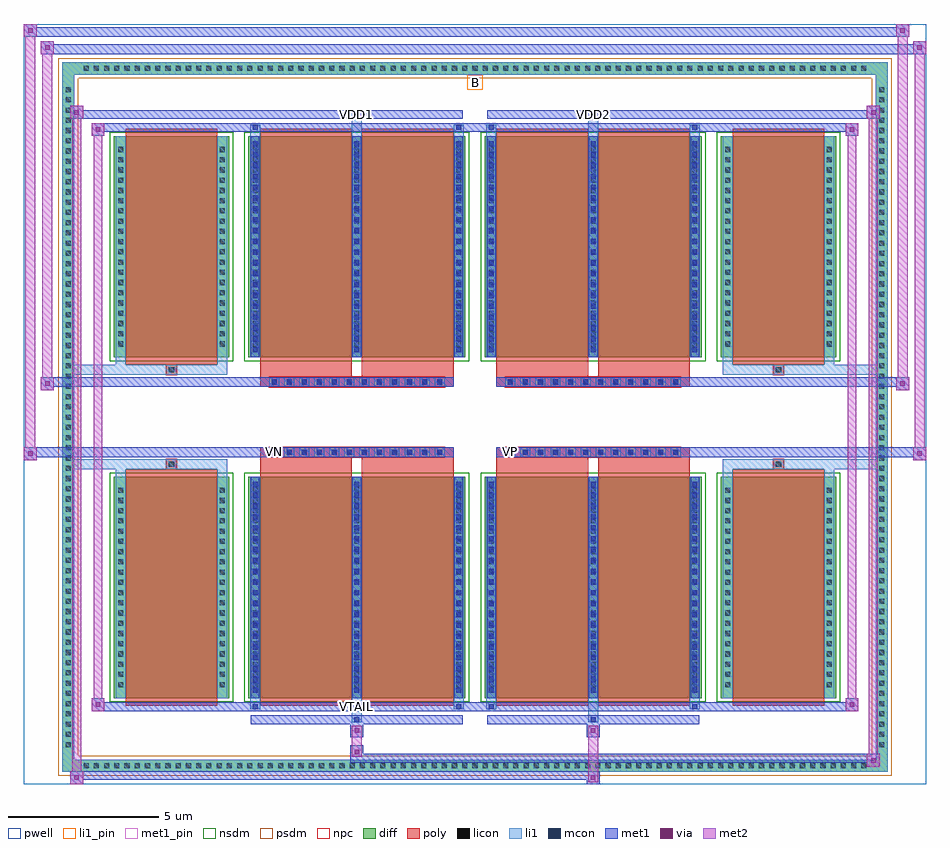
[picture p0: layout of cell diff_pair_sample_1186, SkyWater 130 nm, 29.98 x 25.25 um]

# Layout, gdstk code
import gdstk
lib = gdstk.Library(unit=1e-6, precision=5e-09)
def R(c, l, rs):  # rectangles x0, y0, x1, y1
    for r in rs: c.add(gdstk.rectangle(r[:2], r[2:], *l))
def A(c, l, x, y, w, h, nx, ny, dx, dy):  # array of equal rectangles
    R(c, l, [(x+i*dx, y+j*dy, x+i*dx+w, y+j*dy+h) for i in range(nx) for j in range(ny)])
def P(c, l, *ps):  # polygons
    for p in ps: c.add(gdstk.Polygon(p, *l))
pwell = (64, 44)
diff = (65, 20)
poly = (66, 20)
licon = (66, 44)
li1_pin = (67, 16)
li1 = (67, 20)
mcon = (67, 44)
met1_pin = (68, 16)
met1 = (68, 20)
via = (68, 44)
met2 = (69, 20)
nsdm = (93, 44)
psdm = (94, 20)
npc = (95, 20)

diff_pair_sample_1186 = lib.new_cell('diff_pair_sample_1186')
R(diff_pair_sample_1186, pwell, [(-14.99,-12.19,14.99,13.06), (-12.31,-10.38,-0.01,-0.8), (0.01,-10.38,12.31,-0.8), (-12.31,0.8,-0.01,10.38), (0.01,0.8,12.31,10.38)])
A(diff_pair_sample_1186, diff, -13.125, -11.79, 0.41, 0.41, 77, 2, 0.34, 23.17)
A(diff_pair_sample_1186, diff, -13.72, -11.085, 0.41, 0.41, 1, 65, 0, 0.34)
A(diff_pair_sample_1186, diff, 13.31, -11.085, 0.41, 0.41, 1, 65, 0, 0.34)
R(diff_pair_sample_1186, diff, [(-13.125,-11.79,13.125,-11.38), (-13.72,-11.085,-13.31,11.085), (13.31,-11.085,13.72,11.085), (-12,-9.335,-8.17,-1.985), (-7.53,-9.335,-0.32,-1.985), (0.32,-9.335,7.53,-1.985), (8.17,-9.335,12,-1.985), (-12,1.985,-8.17,9.335), (-7.53,1.985,-0.32,9.335), (0.32,1.985,7.53,9.335), (8.17,1.985,12,9.335), (-13.125,11.38,13.125,11.79)])
P(diff_pair_sample_1186, diff, [(13.72,11.79),(-13.72,11.79),(-13.72,-11.38),(-13.31,-11.38),(-13.31,11.38),(13.31,11.38),(13.31,-11.38),(-13.31,-11.38),(-13.72,-11.38),(-13.72,-11.79),(13.72,-11.79)])
A(diff_pair_sample_1186, poly, -6.84, -1.33, 0.33, 0.33, 12, 2, 0.5, 2.33)
A(diff_pair_sample_1186, poly, 1.01, -1.33, 0.33, 0.33, 12, 2, 0.5, 2.33)
R(diff_pair_sample_1186, poly, [(-11.61,-9.585,-8.56,-1.735), (-7.14,-9.585,-4.09,-1.735), (-3.76,-9.585,-0.71,-1.735), (0.71,-9.585,3.76,-1.735), (4.09,-9.585,7.14,-1.735), (8.56,-9.585,11.61,-1.735), (-10.25,-1.735,-9.92,-1.405), (-10.25,-1.735,-9.92,-1.405), (-7.14,-1.735,-4.09,-1.33), (-3.76,-1.735,-0.71,-1.33), (0.71,-1.735,3.76,-1.33), (4.09,-1.735,7.14,-1.33), (9.92,-1.735,10.25,-1.405), (9.92,-1.735,10.25,-1.405), (-7.14,-1.33,-0.71,-1), (0.71,-1.33,7.14,-1), (-7.14,1,-0.71,1.33), (0.71,1,7.14,1.33), (-7.14,1.33,-4.09,1.735), (-3.76,1.33,-0.71,1.735), (0.71,1.33,3.76,1.735), (4.09,1.33,7.14,1.735), (-10.25,1.405,-9.92,1.735), (-10.25,1.405,-9.92,1.735), (9.92,1.405,10.25,1.735), (9.92,1.405,10.25,1.735), (-11.61,1.735,-8.56,9.585), (-7.14,1.735,-4.09,9.585), (-3.76,1.735,-0.71,9.585), (0.71,1.735,3.76,9.585), (4.09,1.735,7.14,9.585), (8.56,1.735,11.61,9.585)])
A(diff_pair_sample_1186, licon, -13.005, -11.67, 0.17, 0.17, 77, 2, 0.34, 23.17)
A(diff_pair_sample_1186, licon, -13.6, -10.965, 0.17, 0.17, 1, 65, 0, 0.34)
A(diff_pair_sample_1186, licon, 13.43, -10.965, 0.17, 0.17, 1, 65, 0, 0.34)
A(diff_pair_sample_1186, licon, -11.86, -8.975, 0.17, 0.17, 1, 20, 0, 0.34)
A(diff_pair_sample_1186, licon, -8.48, -8.975, 0.17, 0.17, 1, 20, 0, 0.34)
A(diff_pair_sample_1186, licon, -7.39, -8.975, 0.17, 0.17, 3, 20, 3.38, 0.34)
A(diff_pair_sample_1186, licon, 0.46, -8.975, 0.17, 0.17, 3, 20, 3.38, 0.34)
A(diff_pair_sample_1186, licon, 8.31, -8.975, 0.17, 0.17, 1, 20, 0, 0.34)
A(diff_pair_sample_1186, licon, 11.69, -8.975, 0.17, 0.17, 1, 20, 0, 0.34)
A(diff_pair_sample_1186, licon, -6.76, -1.25, 0.17, 0.17, 12, 2, 0.5, 2.33)
A(diff_pair_sample_1186, licon, 1.09, -1.25, 0.17, 0.17, 12, 2, 0.5, 2.33)
A(diff_pair_sample_1186, licon, -11.86, 2.345, 0.17, 0.17, 1, 20, 0, 0.34)
A(diff_pair_sample_1186, licon, -8.48, 2.345, 0.17, 0.17, 1, 20, 0, 0.34)
A(diff_pair_sample_1186, licon, -7.39, 2.345, 0.17, 0.17, 3, 20, 3.38, 0.34)
A(diff_pair_sample_1186, licon, 0.46, 2.345, 0.17, 0.17, 3, 20, 3.38, 0.34)
A(diff_pair_sample_1186, licon, 8.31, 2.345, 0.17, 0.17, 1, 20, 0, 0.34)
A(diff_pair_sample_1186, licon, 11.69, 2.345, 0.17, 0.17, 1, 20, 0, 0.34)
R(diff_pair_sample_1186, licon, [(-10.17,-1.655,-10,-1.485), (10,-1.655,10.17,-1.485), (-10.17,1.485,-10,1.655), (10,1.485,10.17,1.655)])
R(diff_pair_sample_1186, li1_pin, [(-0.25,10.88,0.25,11.38)])
A(diff_pair_sample_1186, li1, -13.085, -11.75, 0.33, 0.33, 77, 2, 0.34, 23.17)
A(diff_pair_sample_1186, li1, -13.68, -11.045, 0.33, 0.33, 1, 65, 0, 0.34)
A(diff_pair_sample_1186, li1, 13.35, -11.045, 0.33, 0.33, 1, 65, 0, 0.34)
A(diff_pair_sample_1186, li1, -7.47, -9.335, 0.33, 7.35, 3, 2, 3.38, 11.32)
A(diff_pair_sample_1186, li1, 0.38, -9.335, 0.33, 7.35, 3, 2, 3.38, 11.32)
A(diff_pair_sample_1186, li1, -7.39, -9.165, 0.17, 0.17, 3, 20, 3.38, 0.36)
A(diff_pair_sample_1186, li1, -7.39, -9.165, 0.17, 7.01, 3, 2, 3.38, 11.32)
A(diff_pair_sample_1186, li1, 0.46, -9.165, 0.17, 0.17, 3, 20, 3.38, 0.36)
A(diff_pair_sample_1186, li1, 0.46, -9.165, 0.17, 7.01, 3, 2, 3.38, 11.32)
A(diff_pair_sample_1186, li1, -11.94, -9.055, 0.33, 0.33, 1, 20, 0, 0.34)
A(diff_pair_sample_1186, li1, -8.56, -9.055, 0.33, 0.33, 1, 20, 0, 0.34)
A(diff_pair_sample_1186, li1, -7.47, -9.055, 0.33, 0.33, 3, 20, 3.38, 0.34)
A(diff_pair_sample_1186, li1, 0.38, -9.055, 0.33, 0.33, 3, 20, 3.38, 0.34)
A(diff_pair_sample_1186, li1, 8.23, -9.055, 0.33, 0.33, 1, 20, 0, 0.34)
A(diff_pair_sample_1186, li1, 11.61, -9.055, 0.33, 0.33, 1, 20, 0, 0.34)
A(diff_pair_sample_1186, li1, -6.84, -1.33, 0.33, 0.33, 12, 2, 0.5, 2.33)
A(diff_pair_sample_1186, li1, 1.01, -1.33, 0.33, 0.33, 12, 2, 0.5, 2.33)
A(diff_pair_sample_1186, li1, -7.39, 2.155, 0.17, 0.17, 3, 20, 3.38, 0.36)
A(diff_pair_sample_1186, li1, 0.46, 2.155, 0.17, 0.17, 3, 20, 3.38, 0.36)
A(diff_pair_sample_1186, li1, -11.94, 2.265, 0.33, 0.33, 1, 20, 0, 0.34)
A(diff_pair_sample_1186, li1, -8.56, 2.265, 0.33, 0.33, 1, 20, 0, 0.34)
A(diff_pair_sample_1186, li1, -7.47, 2.265, 0.33, 0.33, 3, 20, 3.38, 0.34)
A(diff_pair_sample_1186, li1, 0.38, 2.265, 0.33, 0.33, 3, 20, 3.38, 0.34)
A(diff_pair_sample_1186, li1, 8.23, 2.265, 0.33, 0.33, 1, 20, 0, 0.34)
A(diff_pair_sample_1186, li1, 11.61, 2.265, 0.33, 0.33, 1, 20, 0, 0.34)
R(diff_pair_sample_1186, li1, [(-13.72,-11.79,-13.31,-11.38), (-13.72,-11.79,-13.31,-11.38), (-13.31,-11.79,13.31,-11.38), (13.31,-11.79,13.72,-11.38), (13.31,-11.79,13.72,-11.38), (-13.72,-11.38,-13.31,11.38), (13.31,-11.38,13.72,11.38), (-4.09,-10.14,-3.76,-9.335), (-4.01,-10.14,-3.84,-9.97), (3.76,-10.14,4.09,-9.335), (3.84,-10.14,4.01,-9.97), (-7.47,-9.71,-7.14,-9.335), (-7.39,-9.71,-7.22,-9.54), (-0.71,-9.71,-0.38,-9.335), (-0.63,-9.71,-0.46,-9.54), (0.38,-9.71,0.71,-9.335), (0.46,-9.71,0.63,-9.54), (7.14,-9.71,7.47,-9.335), (7.22,-9.71,7.39,-9.54), (-11.94,-9.335,-11.61,-1.985), (-8.56,-9.335,-8.23,-1.985), (8.23,-9.335,8.56,-1.985), (11.61,-9.335,11.94,-1.985), (-11.94,-1.985,-11.61,-1.405), (-8.56,-1.985,-8.23,-1.405), (8.23,-1.985,8.56,-1.405), (11.61,-1.985,11.94,-1.405), (-13.72,-1.735,-10.25,-1.405), (-11.94,-1.735,-10.25,-1.405), (-10.25,-1.735,-9.92,-1.405), (-9.92,-1.735,-8.23,-1.405), (8.23,-1.735,9.92,-1.405), (9.92,-1.735,10.25,-1.405), (9.92,-1.735,13.72,-1.405), (10.25,-1.735,11.94,-1.405), (-13.72,1.405,-10.25,1.735), (-11.94,1.405,-10.25,1.735), (-11.94,1.405,-11.61,1.985), (-10.25,1.405,-9.92,1.735), (-9.92,1.405,-8.23,1.735), (-8.56,1.405,-8.23,1.985), (8.23,1.405,9.92,1.735), (8.23,1.405,8.56,1.985), (9.92,1.405,10.25,1.735), (9.92,1.405,13.72,1.735), (10.25,1.405,11.94,1.735), (11.61,1.405,11.94,1.985), (-11.94,1.985,-11.61,9.335), (-8.56,1.985,-8.23,9.335), (8.23,1.985,8.56,9.335), (11.61,1.985,11.94,9.335), (-7.47,9.335,-7.14,9.71), (-4.09,9.335,-3.76,10.14), (-0.71,9.335,-0.38,9.71), (0.38,9.335,0.71,9.71), (3.76,9.335,4.09,10.14), (7.14,9.335,7.47,9.71), (-7.39,9.54,-7.22,9.71), (-0.63,9.54,-0.46,9.71), (0.46,9.54,0.63,9.71), (7.22,9.54,7.39,9.71), (-4.01,9.97,-3.84,10.14), (3.84,9.97,4.01,10.14), (-13.72,11.38,-13.31,11.79), (-13.72,11.38,-13.31,11.79), (-13.31,11.38,13.31,11.79), (13.31,11.38,13.72,11.79), (13.31,11.38,13.72,11.79)])
A(diff_pair_sample_1186, mcon, -7.39, -9.165, 0.17, 0.17, 3, 20, 3.38, 0.36)
A(diff_pair_sample_1186, mcon, 0.46, -9.165, 0.17, 0.17, 3, 20, 3.38, 0.36)
A(diff_pair_sample_1186, mcon, -6.76, -1.25, 0.17, 0.17, 12, 2, 0.5, 2.33)
A(diff_pair_sample_1186, mcon, 1.09, -1.25, 0.17, 0.17, 12, 2, 0.5, 2.33)
A(diff_pair_sample_1186, mcon, -7.39, 2.155, 0.17, 0.17, 3, 20, 3.38, 0.36)
A(diff_pair_sample_1186, mcon, 0.46, 2.155, 0.17, 0.17, 3, 20, 3.38, 0.36)
R(diff_pair_sample_1186, mcon, [(-4.01,-10.14,-3.84,-9.97), (3.84,-10.14,4.01,-9.97), (-7.39,-9.71,-7.22,-9.54), (-0.63,-9.71,-0.46,-9.54), (0.46,-9.71,0.63,-9.54), (7.22,-9.71,7.39,-9.54), (-7.39,9.54,-7.22,9.71), (-0.63,9.54,-0.46,9.71), (0.46,9.54,0.63,9.71), (7.22,9.54,7.39,9.71), (-4.01,9.97,-3.84,10.14), (3.84,9.97,4.01,10.14)])
R(diff_pair_sample_1186, met1_pin, [(-4.06,-9.75,-3.79,-9.48), (-6.81,-1.29,-6.54,-1.02), (1.04,-1.29,1.31,-1.02), (-4.06,9.93,-3.79,10.2), (3.79,9.93,4.06,10.2)])
A(diff_pair_sample_1186, met1, -7.45, -9.335, 0.29, 7.35, 3, 2, 3.38, 11.32)
A(diff_pair_sample_1186, met1, 0.4, -9.335, 0.29, 7.35, 3, 2, 3.38, 11.32)
A(diff_pair_sample_1186, met1, -7.45, -9.225, 0.29, 0.29, 3, 20, 3.38, 0.36)
A(diff_pair_sample_1186, met1, 0.4, -9.225, 0.29, 0.29, 3, 20, 3.38, 0.36)
A(diff_pair_sample_1186, met1, -6.82, -1.31, 0.29, 0.29, 12, 2, 0.5, 2.33)
A(diff_pair_sample_1186, met1, 1.03, -1.31, 0.29, 0.29, 12, 2, 0.5, 2.33)
A(diff_pair_sample_1186, met1, -7.45, 2.095, 0.29, 0.29, 3, 20, 3.38, 0.36)
A(diff_pair_sample_1186, met1, 0.4, 2.095, 0.29, 0.29, 3, 20, 3.38, 0.36)
R(diff_pair_sample_1186, met1, [(-13.45,-12.19,-13.02,-11.76), (3.71,-12.19,4.14,-11.76), (-13.45,-12.05,4.14,-11.76), (13.02,-11.62,13.45,-11.19), (-4.14,-11.48,13.45,-11.19), (-4.14,-11.34,-3.71,-10.91), (-4.14,-10.63,-3.71,-10.2), (3.71,-10.63,4.14,-10.2), (-7.45,-10.2,-0.4,-9.91), (-4.07,-10.2,-3.78,-9.91), (0.4,-10.2,7.45,-9.91), (3.78,-10.2,4.07,-9.91), (-12.74,-9.77,-12.31,-9.34), (-12.74,-9.77,-7.45,-9.48), (-7.45,-9.77,-7.16,-9.48), (-7.45,-9.77,-0.4,-9.48), (-0.69,-9.77,-0.4,-9.48), (-0.4,-9.77,0.4,-9.48), (0.4,-9.77,0.69,-9.48), (0.4,-9.77,7.45,-9.48), (7.16,-9.77,7.45,-9.48), (7.45,-9.77,12.74,-9.48), (12.31,-9.77,12.74,-9.34), (-14.99,-1.43,-14.56,-1), (14.56,-1.43,14.99,-1), (-14.99,-1.33,-0.71,-1), (-7.14,-1.33,-0.71,-1), (0.71,-1.33,7.14,-1), (0.71,-1.33,14.99,-1), (-14.42,0.9,-13.99,1.33), (13.99,0.9,14.42,1.33), (-14.42,1,-7.14,1.33), (-7.14,1,-0.71,1.33), (0.71,1,7.14,1.33), (7.14,1,14.42,1.33), (-12.74,9.34,-12.31,9.77), (12.31,9.34,12.74,9.77), (-12.74,9.48,-7.45,9.77), (-7.45,9.48,-7.16,9.77), (-7.45,9.48,-0.4,9.77), (-0.69,9.48,-0.4,9.77), (-0.4,9.48,0.4,9.77), (0.4,9.48,0.69,9.77), (0.4,9.48,7.45,9.77), (7.16,9.48,7.45,9.77), (7.45,9.48,12.74,9.77), (-13.45,9.91,-13.02,10.34), (-13.45,9.91,-7.45,10.2), (-7.45,9.91,-0.4,10.2), (-4.07,9.91,-3.78,10.2), (0.4,9.91,7.45,10.2), (3.78,9.91,4.07,10.2), (7.45,9.91,13.45,10.2), (13.02,9.91,13.45,10.34), (-14.42,12.06,-13.99,12.49), (-14.42,12.06,-12.31,12.39), (-12.31,12.06,12.31,12.39), (12.31,12.06,14.99,12.39), (14.56,12.06,14.99,12.49), (-14.99,12.63,-14.56,13.06), (-14.99,12.63,-12.31,12.96), (-12.31,12.63,12.31,12.96), (12.31,12.63,14.42,12.96), (13.99,12.63,14.42,13.06)])
R(diff_pair_sample_1186, via, [(-13.31,-12.05,-13.16,-11.9), (3.85,-12.05,4,-11.9), (13.16,-11.48,13.31,-11.33), (-4,-11.2,-3.85,-11.05), (-4,-10.49,-3.85,-10.34), (3.85,-10.49,4,-10.34), (-12.6,-9.63,-12.45,-9.48), (12.45,-9.63,12.6,-9.48), (-14.85,-1.29,-14.7,-1.14), (14.7,-1.29,14.85,-1.14), (-14.28,1.04,-14.13,1.19), (14.13,1.04,14.28,1.19), (-12.6,9.48,-12.45,9.63), (12.45,9.48,12.6,9.63), (-13.31,10.05,-13.16,10.2), (13.16,10.05,13.31,10.2), (-14.28,12.2,-14.13,12.35), (14.7,12.2,14.85,12.35), (-14.85,12.77,-14.7,12.92), (14.13,12.77,14.28,12.92)])
R(diff_pair_sample_1186, met2, [(-13.45,-12.19,-13.02,-11.76), (-13.38,-12.19,-13.09,10.34), (-13.09,-12.19,-13.02,-11.76), (-13.4,-12.14,-13.07,-11.81), (3.76,-12.14,4.09,-11.81), (3.76,-11.81,4.09,-10.58), (13.02,-11.62,13.45,-11.19), (13.09,-11.62,13.38,10.34), (13.38,-11.62,13.45,-11.19), (13.07,-11.57,13.4,-11.24), (-4.09,-11.29,-3.76,-10.96), (-4.09,-10.96,-3.76,-10.58), (-4.09,-10.58,-3.76,-10.25), (3.76,-10.58,4.09,-10.25), (-12.74,-9.77,-12.31,-9.34), (-12.67,-9.77,-12.38,9.77), (-12.38,-9.77,-12.31,-9.34), (12.31,-9.77,12.74,-9.34), (12.38,-9.77,12.67,9.77), (12.67,-9.77,12.74,-9.34), (-12.69,-9.72,-12.36,-9.39), (12.36,-9.72,12.69,-9.39), (-14.99,-1.43,-14.56,-1), (-14.94,-1.43,-14.61,13.06), (-14.61,-1.43,-14.56,-1), (14.56,-1.43,14.99,-1), (14.61,-1.43,14.94,12.49), (14.94,-1.43,14.99,-1), (-14.94,-1.38,-14.61,-1.05), (14.61,-1.38,14.94,-1.05), (-14.42,0.9,-13.99,1.33), (-14.37,0.9,-14.04,12.49), (-14.04,0.9,-13.99,1.33), (13.99,0.9,14.42,1.33), (14.04,0.9,14.37,13.06), (14.37,0.9,14.42,1.33), (-14.37,0.95,-14.04,1.28), (14.04,0.95,14.37,1.28), (-12.74,9.34,-12.31,9.77), (-12.38,9.34,-12.31,9.77), (12.31,9.34,12.74,9.77), (12.67,9.34,12.74,9.77), (-12.69,9.39,-12.36,9.72), (12.36,9.39,12.69,9.72), (-13.45,9.91,-13.02,10.34), (-13.09,9.91,-13.02,10.34), (13.02,9.91,13.45,10.34), (13.38,9.91,13.45,10.34), (-13.4,9.96,-13.07,10.29), (13.07,9.96,13.4,10.29), (-14.42,12.06,-13.99,12.49), (-14.04,12.06,-13.99,12.49), (14.56,12.06,14.99,12.49), (14.94,12.06,14.99,12.49), (-14.37,12.11,-14.04,12.44), (14.61,12.11,14.94,12.44), (-14.99,12.63,-14.56,13.06), (-14.61,12.63,-14.56,13.06), (13.99,12.63,14.42,13.06), (14.37,12.63,14.42,13.06), (-14.94,12.68,-14.61,13.01), (14.04,12.68,14.37,13.01)])
R(diff_pair_sample_1186, nsdm, [(-12.13,-9.465,-8.04,-1.855), (-7.66,-9.465,-0.19,-1.855), (0.19,-9.465,7.66,-1.855), (8.04,-9.465,12.13,-1.855), (-12.13,1.855,-8.04,9.465), (-7.66,1.855,-0.19,9.465), (0.19,1.855,7.66,9.465), (8.04,1.855,12.13,9.465)])
P(diff_pair_sample_1186, psdm, [(13.85,11.92),(-13.85,11.92),(-13.85,-11.25),(-13.18,-11.25),(-13.18,11.25),(13.18,11.25),(13.18,-11.25),(-13.18,-11.25),(-13.85,-11.25),(-13.85,-11.92),(13.85,-11.92)])
A(diff_pair_sample_1186, npc, -6.86, -1.35, 0.37, 0.37, 12, 2, 0.5, 2.33)
A(diff_pair_sample_1186, npc, 0.99, -1.35, 0.37, 0.37, 12, 2, 0.5, 2.33)
R(diff_pair_sample_1186, npc, [(-10.27,-1.755,-9.9,-1.385), (9.9,-1.755,10.27,-1.385), (-6.86,-1.35,-5.99,-0.98), (-6.86,-1.35,-5.99,-0.98), (-6.36,-1.35,-5.49,-0.98), (-6.36,-1.35,-5.49,-0.98), (-5.86,-1.35,-4.99,-0.98), (-5.86,-1.35,-4.99,-0.98), (-5.36,-1.35,-4.49,-0.98), (-5.36,-1.35,-4.49,-0.98), (-4.86,-1.35,-3.99,-0.98), (-4.86,-1.35,-3.99,-0.98), (-4.36,-1.35,-3.49,-0.98), (-4.36,-1.35,-3.49,-0.98), (-3.86,-1.35,-2.99,-0.98), (-3.86,-1.35,-2.99,-0.98), (-3.36,-1.35,-2.49,-0.98), (-3.36,-1.35,-2.49,-0.98), (-2.86,-1.35,-1.99,-0.98), (-2.86,-1.35,-1.99,-0.98), (-2.36,-1.35,-1.49,-0.98), (-2.36,-1.35,-1.49,-0.98), (-1.86,-1.35,-0.99,-0.98), (-1.86,-1.35,-0.99,-0.98), (0.99,-1.35,1.86,-0.98), (0.99,-1.35,1.86,-0.98), (1.49,-1.35,2.36,-0.98), (1.49,-1.35,2.36,-0.98), (1.99,-1.35,2.86,-0.98), (1.99,-1.35,2.86,-0.98), (2.49,-1.35,3.36,-0.98), (2.49,-1.35,3.36,-0.98), (2.99,-1.35,3.86,-0.98), (2.99,-1.35,3.86,-0.98), (3.49,-1.35,4.36,-0.98), (3.49,-1.35,4.36,-0.98), (3.99,-1.35,4.86,-0.98), (3.99,-1.35,4.86,-0.98), (4.49,-1.35,5.36,-0.98), (4.49,-1.35,5.36,-0.98), (4.99,-1.35,5.86,-0.98), (4.99,-1.35,5.86,-0.98), (5.49,-1.35,6.36,-0.98), (5.49,-1.35,6.36,-0.98), (5.99,-1.35,6.86,-0.98), (5.99,-1.35,6.86,-0.98), (-6.86,0.98,-5.99,1.35), (-6.86,0.98,-5.99,1.35), (-6.36,0.98,-5.49,1.35), (-6.36,0.98,-5.49,1.35), (-5.86,0.98,-4.99,1.35), (-5.86,0.98,-4.99,1.35), (-5.36,0.98,-4.49,1.35), (-5.36,0.98,-4.49,1.35), (-4.86,0.98,-3.99,1.35), (-4.86,0.98,-3.99,1.35), (-4.36,0.98,-3.49,1.35), (-4.36,0.98,-3.49,1.35), (-3.86,0.98,-2.99,1.35), (-3.86,0.98,-2.99,1.35), (-3.36,0.98,-2.49,1.35), (-3.36,0.98,-2.49,1.35), (-2.86,0.98,-1.99,1.35), (-2.86,0.98,-1.99,1.35), (-2.36,0.98,-1.49,1.35), (-2.36,0.98,-1.49,1.35), (-1.86,0.98,-0.99,1.35), (-1.86,0.98,-0.99,1.35), (0.99,0.98,1.86,1.35), (0.99,0.98,1.86,1.35), (1.49,0.98,2.36,1.35), (1.49,0.98,2.36,1.35), (1.99,0.98,2.86,1.35), (1.99,0.98,2.86,1.35), (2.49,0.98,3.36,1.35), (2.49,0.98,3.36,1.35), (2.99,0.98,3.86,1.35), (2.99,0.98,3.86,1.35), (3.49,0.98,4.36,1.35), (3.49,0.98,4.36,1.35), (3.99,0.98,4.86,1.35), (3.99,0.98,4.86,1.35), (4.49,0.98,5.36,1.35), (4.49,0.98,5.36,1.35), (4.99,0.98,5.86,1.35), (4.99,0.98,5.86,1.35), (5.49,0.98,6.36,1.35), (5.49,0.98,6.36,1.35), (5.99,0.98,6.86,1.35), (5.99,0.98,6.86,1.35), (-10.27,1.385,-9.9,1.755), (9.9,1.385,10.27,1.755)])
diff_pair_sample_1186.add(gdstk.Label('VTAIL', (-3.925,-9.615), layer=68, texttype=5))
diff_pair_sample_1186.add(gdstk.Label('VN', (-6.675,-1.155), layer=68, texttype=5))
diff_pair_sample_1186.add(gdstk.Label('VP', (1.175,-1.155), layer=68, texttype=5))
diff_pair_sample_1186.add(gdstk.Label('B', (0,11.13), layer=67, texttype=5))
diff_pair_sample_1186.add(gdstk.Label('VDD2', (3.925,10.065), layer=68, texttype=5))
diff_pair_sample_1186.add(gdstk.Label('VDD1', (-3.925,10.065), layer=68, texttype=5))

lib.write_gds('diff_pair_sample_1186.gds')
